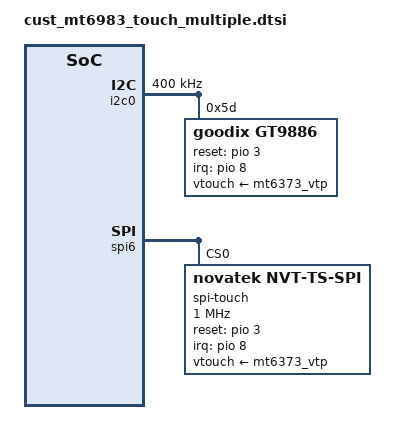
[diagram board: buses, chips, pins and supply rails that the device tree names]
// SPDX-License-Identifier: (GPL-2.0 OR MIT)
/*
 * Copyright (C) 2020 MediaTek Inc.
 */

/* TOUCH start */
&i2c0 {
	clock-frequency = <400000>;
	pinctrl-names = "default", "ts_int_active",
		"ts_reset_active", "ts_int_suspend",
		"ts_reset_suspend", "ts_i2c_mode";
	pinctrl-0 = <&ctp_pins_default>;
	pinctrl-1 = <&ctp_ts_int_active>;
	pinctrl-2 = <&ctp_ts_reset_active>;
	pinctrl-3 = <&ctp_ts_int_suspend>;
	pinctrl-4 = <&ctp_ts_reset_suspend>;
	pinctrl-5 = <&ctp_ts_i2c_mode>;

	gt9886@5d {
		compatible = "goodix,gt9886";
		reg = <0x5d>;
		status = "ok";
		interrupt-parent = <&pio>;
		interrupts = <8 IRQ_TYPE_EDGE_FALLING 8 0>;
		vtouch-supply = <&mt6373_vtp>;
		goodix,reset-gpio = <&pio 3 0x0>;
		goodix,irq-gpio = <&pio 8 0x0>;
		goodix,irq-flags = <2>; /* 1:rising, 2:falling;*/
		goodix,panel-max-id = <10>;
		goodix,panel-max-x = <1080>;
		goodix,panel-max-y = <2340>;
		goodix,panel-max-w = <256>;
		goodix,panel-max-p = <256>;
		goodix,input-max-x = <1080>;
		goodix,input-max-y = <2340>;
		goodix,panel-key-map = <158 172 217>; /*BACK,HOMEPAGE,SEARCH*/
		goodix,power-on-delay-us = <10000>; /*10ms*/
		goodix,power-off-delay-us = <5000>;
		goodix,firmware-version = "6885af";
		goodix,config-version = "90hz6885";
		/*goodix,swap-axis;*/
		/*goodix,x2x;*/
		/*goodix,y2y;*/
		goodix,pen-enable;
		goodix,key-of-pen = <331 332>;/*BTN_STYLUS, BTN_STYLUS2*/
		tpd-filter-enable = <0>;
		tpd-filter-pixel-density = <161>;
		tpd-filter-custom-prameters = <0 0 0 0 0 0 0 0 0 0 0 0>;
		tpd-filter-custom-speed = <0 0 0>;
	};

};

&spi6 {
	status = "okay";
	#address-cells = <1>;
	#size-cells = <0>;
	pinctrl-names = "default", "gt9896s_int_active",
		"gt9896s_reset_active", "gt9896s_int_suspend",
		"gt9896s_reset_suspend", "gt9896s_spi_mode";
	pinctrl-0 = <&ctp_gt9896s_pins_default>;
	pinctrl-1 = <&ctp_gt9896s_int_active>;
	pinctrl-2 = <&ctp_gt9896s_reset_active>;
	pinctrl-3 = <&ctp_gt9896s_int_suspend>;
	pinctrl-4 = <&ctp_gt9896s_reset_suspend>;
	pinctrl-5 = <&ctp_gt9896s_spi_mode>;

	spi-touch@0 {
		compatible = "novatek,NVT-ts-spi", "goodix,gt9896s";
		reg = <0>; //Same as CS ID
		spi-max-frequency = <1000000>;
		novatek,reset-gpio = <&pio 3 0x00>;
		novatek,irq-gpio = <&pio 8 0x00>;
		// 525
		//novatek,swrst-n8-addr = <0x01F01A>;
		// 672A, 525B, 675, 526
		novatek,swrst-n8-addr = <0x03F0FE>;
		novatek,spi-rd-fast-addr = <0x03F310>;

		goodix,avdd-name = "vtouch";
		vtouch-supply = <&mt6373_vtp>;
		goodix,reset-gpio = <&pio 3 0x0>;
		goodix,irq-gpio = <&pio 8 0x0>;
		goodix,irq-flags = <2>; /* 1:rising, 2:falling;*/
		goodix,panel-max-id = <10>;
		goodix,panel-max-x = <1080>;
		goodix,panel-max-y = <2400>;
		goodix,panel-max-w = <256>;
		goodix,panel-max-p = <256>;
		goodix,input-max-x = <1080>;
		goodix,input-max-y = <2400>;
		goodix,panel-key-map = <158 172 217>; /*BACK,HOMEPAGE,SEARCH*/
		goodix,power-on-delay-us = <10000>; /*10ms*/
		goodix,power-off-delay-us = <5000>;
		goodix,firmware-version = "6893v04";
		goodix,config-version = "6893v04";
		/*goodix,swap-axis;*/
		/*goodix,x2x;*/
		/*goodix,y2y;*/
		goodix,pen-enable;
		tpd-filter-enable = <0>;
		tpd-filter-pixel-density = <161>;
		tpd-filter-custom-prameters = <0 0 0 0 0 0 0 0 0 0 0 0>;
		tpd-filter-custom-speed = <0 0 0>;
	};

};

&pio {
	ctp_pins_default: eintdefault {
	};
	ctp_gt9896s_pins_default: pins_default {
	};
	ctp_ts_int_active: int_active {
		pins_cmd_dat {
			pinmux = <PINMUX_GPIO8__FUNC_GPIO8>;
			input-enable;
		};
	};
	ctp_ts_reset_active: reset_active {
		pins_cmd_dat {
			pinmux = <PINMUX_GPIO3__FUNC_GPIO3>;
			output-high;
		};
	};
	ctp_ts_int_suspend: int_suspend {
		pins_cmd_dat {
			pinmux = <PINMUX_GPIO8__FUNC_GPIO8>;
			output-low;
		};
	};
	ctp_ts_reset_suspend: reset_suspend {
		pins_cmd_dat {
			pinmux = <PINMUX_GPIO3__FUNC_GPIO3>;
			output-low;
		};
	};
	ctp_ts_i2c_mode: i2cmode_default {
		pins_cmd_dat {
			pinmux = <PINMUX_GPIO78__FUNC_SCL0>,
				<PINMUX_GPIO79__FUNC_SDA0>;
		};
	};
	ctp_gt9896s_int_active: int1_active {
		pins_cmd_dat {
			pinmux = <PINMUX_GPIO8__FUNC_GPIO8>;
			input-enable;
		};
	};
	ctp_gt9896s_reset_active: reset1_active {
		pins_cmd_dat {
			pinmux = <PINMUX_GPIO3__FUNC_GPIO3>;
			output-high;
		};
	};
	ctp_gt9896s_int_suspend: int1_suspend {
		pins_cmd_dat {
			pinmux = <PINMUX_GPIO8__FUNC_GPIO8>;
			output-low;
		};
	};
	ctp_gt9896s_reset_suspend: reset1_suspend {
		pins_cmd_dat {
			pinmux = <PINMUX_GPIO3__FUNC_GPIO3>;
			output-low;
		};
	};
	ctp_gt9896s_spi_mode: spimode_default {
		pins_cmd_dat {
			pinmux = <PINMUX_GPIO164__FUNC_SPI6_B_MI>,
				<PINMUX_GPIO165__FUNC_SPI6_B_CSB>,
				<PINMUX_GPIO166__FUNC_SPI6_B_MO>,
				<PINMUX_GPIO167__FUNC_SPI6_B_CLK>;
			drive-strength = <2>;
		};
	};
};
/* TOUCH end */
